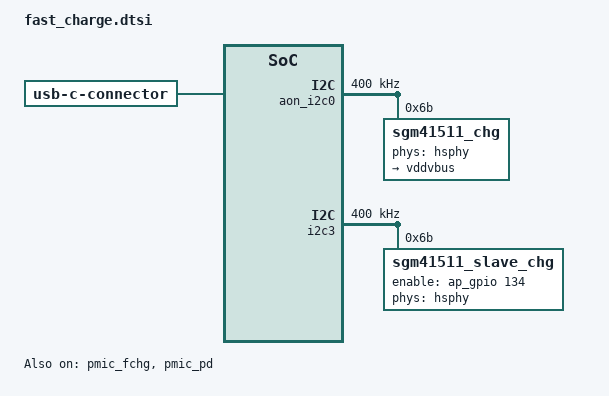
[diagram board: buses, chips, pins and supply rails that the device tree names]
#include <dt-bindings/usb/pd.h>

&usb {
  revo,otg-gpio = <&ap_gpio 88 0>;
};

&charger_manager {
	cm-chargers = "sgm41511_charger", "sgm41511_slave_charger";

	sprd,support-fchg;
	sprd,pd-fixed-max-microwatt = <18000000>;
	extcon = <&pmic_typec>, <&pmic_pd>;
	pd-extcon-enable;
};

&aon_i2c0 {
	status = "okay";
	clock-frequency = <400000>;
	
	#address-cells = <1>;
	#size-cells = <0>;

	sgm41511_chg: charger@6b {
		compatible = "sgm41511_chg";
		reg = <0x6b>;
		phys = <&hsphy>;
		monitored-battery = <&bat>;
		extcon = <&extcon_gpio>;
		vddvbus:otg-vbus {
			regulator-name = "vddvbus";
		};
	};
};

&i2c3 {
	status = "okay";
	clock-frequency = <400000>;
	
	#address-cells = <1>;
	#size-cells = <0>;
	
	sgm41511_slave_chg: charger@6b {
		compatible = "sgm41511_slave_chg";
		reg = <0x6b>;
		phys = <&hsphy>;
		monitored-battery = <&bat>;
		extcon = <&extcon_gpio>;
		enable-gpio = <&ap_gpio 134 GPIO_ACTIVE_HIGH>;
		role-slave;
	};

};


&pmic_fchg {
	status = "okay";
	sprd,input-voltage-microvolt = <5000000>;
};

&pmic_pd {
	status = "okay";
	usb_con: connector {
		compatible = "usb-c-connector";
		label = "USB-C";
		power-role = "dual";
		try-power-role = "sink";
		source-pdos = <PDO_FIXED(5000, 400, PDO_FIXED_USB_COMM)>;
		sink-pdos = <PDO_FIXED(5000, 3000, PDO_FIXED_USB_COMM)
			     PDO_PPS_APDO(3300, 11000, 3000)>;
		op-sink-microwatt = <10000000>;
	};
};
